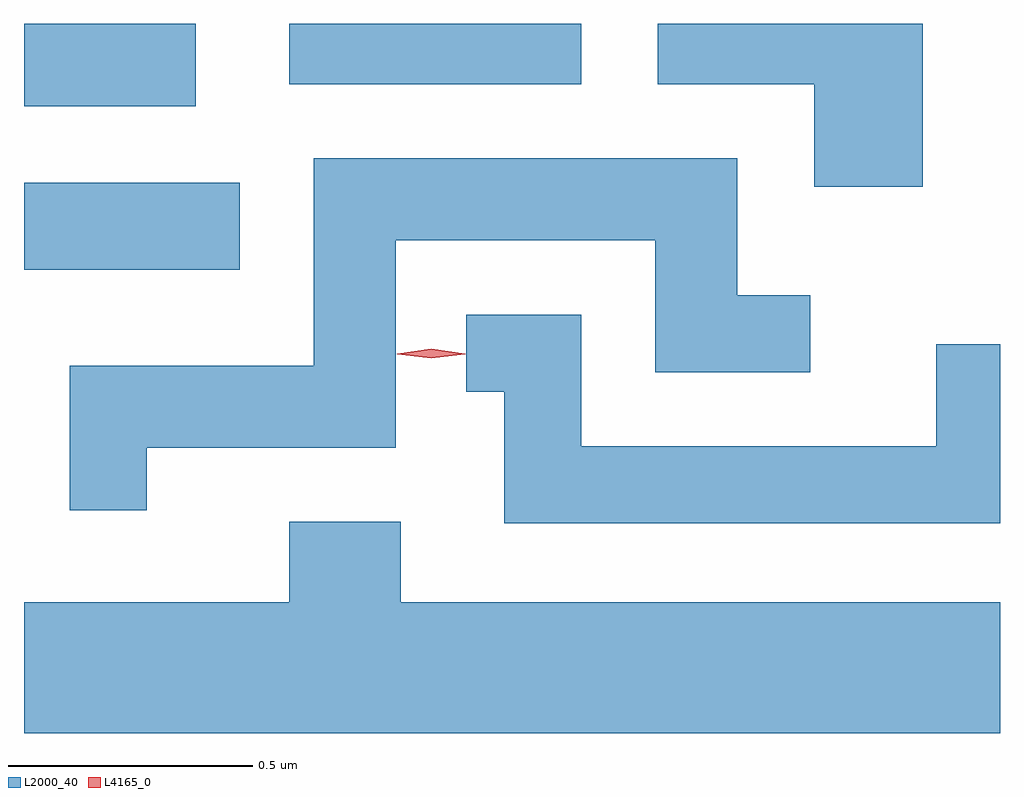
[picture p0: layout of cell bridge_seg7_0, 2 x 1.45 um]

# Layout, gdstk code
import gdstk
lib = gdstk.Library(unit=1e-6, precision=1e-09)
def R(c, l, rs):  # rectangles x0, y0, x1, y1
    for r in rs: c.add(gdstk.rectangle(r[:2], r[2:], *l))
def P(c, l, *ps):  # polygons
    for p in ps: c.add(gdstk.Polygon(p, *l))
L2000_40 = (2000, 40)
L4165_0 = (4165, 0)

bridge_seg7_0 = lib.new_cell('bridge_seg7_0')
R(bridge_seg7_0, L2000_40, [(1682.867,1790.746,1683.309,1790.924), (1682.867,1791.081,1683.219,1791.25), (1683.411,1791.126,1684.009,1791.25)])
P(bridge_seg7_0, L2000_40, [(1684.709,1791.25),(1684.166,1791.25),(1684.166,1791.126),(1684.486,1791.126),(1684.486,1790.916),(1684.709,1790.916)],
  [(1683.119,1790.381),(1683.629,1790.381),(1683.629,1790.806),(1684.161,1790.806),(1684.161,1790.536),(1684.478,1790.536),(1684.478,1790.694),(1684.329,1790.694),(1684.329,1790.974),(1683.461,1790.974),(1683.461,1790.549),(1682.961,1790.549),(1682.961,1790.253),(1683.119,1790.253)],
  [(1684.867,1790.593),(1684.736,1790.593),(1684.736,1790.384),(1684.009,1790.384),(1684.009,1790.654),(1683.773,1790.654),(1683.773,1790.496),(1683.851,1790.496),(1683.851,1790.226),(1684.867,1790.226)],
  [(1684.867,1790.064),(1683.639,1790.064),(1683.639,1790.229),(1683.411,1790.229),(1683.411,1790.064),(1682.867,1790.064),(1682.867,1789.796),(1684.867,1789.796)])
P(bridge_seg7_0, L4165_0, [(1683.702,1790.564),(1683.632,1790.573),(1683.632,1790.574),(1683.632,1790.574),(1683.702,1790.584),(1683.771,1790.574),(1683.771,1790.574),(1683.771,1790.573)])

lib.write_gds('bridge_seg7_0.gds')
